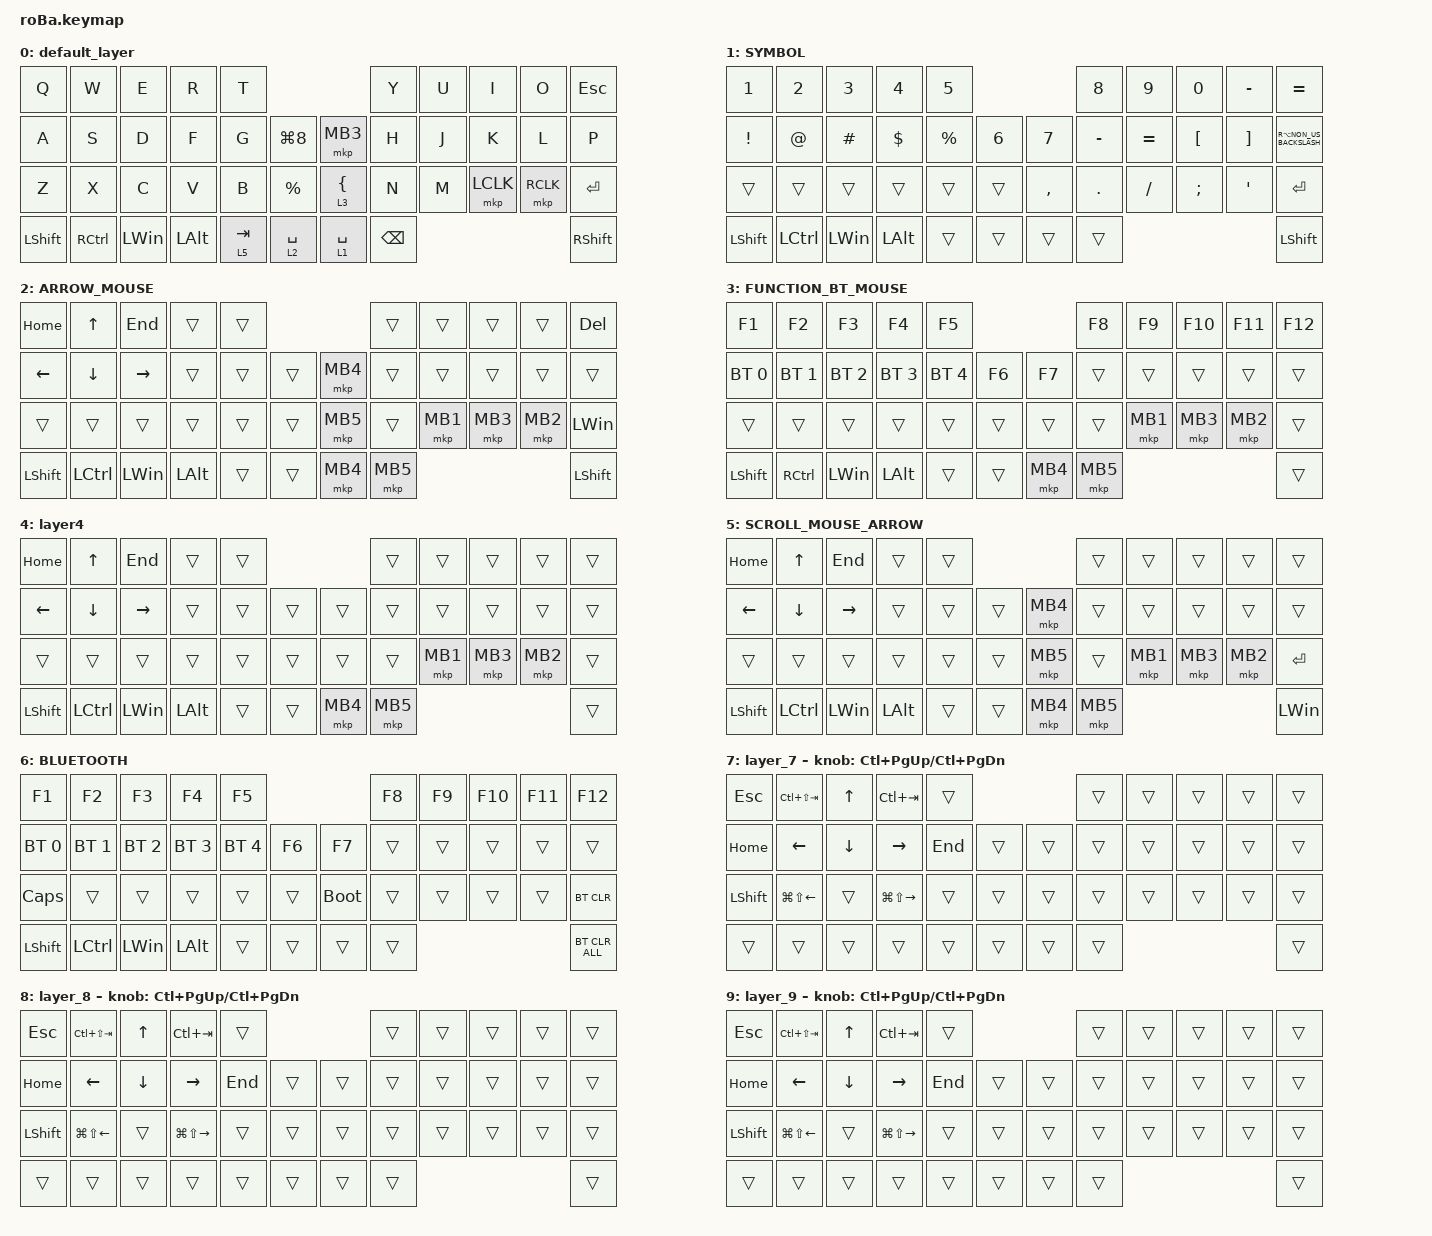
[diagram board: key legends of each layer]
#include <behaviors.dtsi>
#include <dt-bindings/zmk/bt.h>
#include <dt-bindings/zmk/keys.h>
#include <dt-bindings/zmk/pointing.h>

#define MOUSE 4
#define SCROLL 5
#define NUM 6

&mt {
    flavor = "balanced";
    quick-tap-ms = <0>;
};

/ {
    combos {
        compatible = "zmk,combos";

        tab {
            bindings = <&kp TAB>;
            key-positions = <11 12>;
        };

        shift_tab {
            bindings = <&kp LS(TAB)>;
            key-positions = <12 13>;
        };

        muhennkann {
            bindings = <&to_layer_0 INT_MUHENKAN>;
            key-positions = <11 10>;
        };

        double_quotation {
            bindings = <&kp DOUBLE_QUOTES>;
            key-positions = <20 21>;
        };

        eq {
            bindings = <&kp EQUAL>;
            key-positions = <24 25>;
        };
    };

    macros {
        to_layer_0: to_layer_0 {
            compatible = "zmk,behavior-macro-one-param";
            #binding-cells = <1>;
            bindings = <&to 0 &macro_param_1to1 &kp MACRO_PLACEHOLDER>;
            label = "TO_LAYER_0";
        };
    };

    behaviors {
        lt_to_layer_0: lt_to_layer_0 {
            compatible = "zmk,behavior-hold-tap";
            label = "LAYER_TAP_TO_0";
            bindings = <&mo>, <&to_layer_0>;

            #binding-cells = <2>;
            tapping-term-ms = <200>;
        };
    };

    keymap {
        compatible = "zmk,keymap";

        default_layer {
            bindings = <
&kp Q           &kp W      &kp E         &kp R         &kp T                                         &kp Y          &kp U  &kp I      &kp O      &kp ESCAPE
&kp A           &kp S      &kp D         &kp F         &kp G      &kp LG(N8)       &mkp MB3          &kp H          &kp J  &kp K      &kp L      &kp P
&kp Z           &kp X      &kp C         &kp V         &kp B      &kp PRCNT        &lt 3 LEFT_BRACE  &kp N          &kp M  &mkp LCLK  &mkp RCLK  &kp ENTER
&kp LEFT_SHIFT  &kp RCTRL  &kp LEFT_WIN  &kp LEFT_ALT  &lt 5 TAB  &lt 2 SPACE      &lt 1 SPACE       &kp BACKSPACE                               &kp RIGHT_SHIFT
            >;
        };

        SYMBOL {
            bindings = <
&kp NUMBER_1     &kp NUMBER_2  &kp NUMBER_3  &kp NUMBER_4  &kp N5                                    &kp N8      &kp N9     &kp N0            &kp MINUS          &kp EQUAL
&kp EXCLAMATION  &kp AT_SIGN   &kp HASH      &kp DOLLAR    &kp PERCENT  &kp NUMBER_6      &kp N7     &kp MINUS   &kp EQUAL  &kp LEFT_BRACKET  &kp RIGHT_BRACKET  &kp RA(NON_US_BACKSLASH)
&trans           &trans        &trans        &trans        &trans       &trans            &kp COMMA  &kp PERIOD  &kp SLASH  &kp SEMICOLON     &kp SQT            &kp ENTER
&kp LEFT_SHIFT   &kp LCTRL     &kp LEFT_WIN  &kp LEFT_ALT  &trans       &trans            &trans     &trans                                                      &kp LEFT_SHIFT
            >;
        };

        ARROW_MOUSE {
            bindings = <
&kp HOME        &kp UP          &kp END          &trans        &trans                        &trans    &trans    &trans    &trans    &kp DEL
&kp LEFT_ARROW  &kp DOWN_ARROW  &kp RIGHT_ARROW  &trans        &trans  &trans      &mkp MB4  &trans    &trans    &trans    &trans    &trans
&trans          &trans          &trans           &trans        &trans  &trans      &mkp MB5  &trans    &mkp MB1  &mkp MB3  &mkp MB2  &kp LEFT_WIN
&kp LEFT_SHIFT  &kp LCTRL       &kp LEFT_WIN     &kp LEFT_ALT  &trans  &trans      &mkp MB4  &mkp MB5                                &kp LEFT_SHIFT
            >;
        };

        FUNCTION_BT_MOUSE {
            bindings = <
&kp F1          &kp F2        &kp F3        &kp F4        &kp F5                              &kp F8    &kp F9    &kp F10   &kp F11   &kp F12
&bt BT_SEL 0    &bt BT_SEL 1  &bt BT_SEL 2  &bt BT_SEL 3  &bt BT_SEL 4  &kp F6      &kp F7    &trans    &trans    &trans    &trans    &trans
&trans          &trans        &trans        &trans        &trans        &trans      &trans    &trans    &mkp MB1  &mkp MB3  &mkp MB2  &trans
&kp LEFT_SHIFT  &kp RCTRL     &kp LEFT_WIN  &kp LEFT_ALT  &trans        &trans      &mkp MB4  &mkp MB5                                &trans
            >;
        };

        layer4 {
            bindings = <
&kp HOME        &kp UP_ARROW    &kp END          &trans        &trans                        &trans    &trans    &trans    &trans    &trans
&kp LEFT_ARROW  &kp DOWN_ARROW  &kp RIGHT_ARROW  &trans        &trans  &trans      &trans    &trans    &trans    &trans    &trans    &trans
&trans          &trans          &trans           &trans        &trans  &trans      &trans    &trans    &mkp MB1  &mkp MB3  &mkp MB2  &trans
&kp LEFT_SHIFT  &kp LCTRL       &kp LEFT_WIN     &kp LEFT_ALT  &trans  &trans      &mkp MB4  &mkp MB5                                &trans
            >;
        };

        SCROLL_MOUSE_ARROW {
            bindings = <
&kp HOME        &kp UP_ARROW    &kp END          &trans        &trans                        &trans    &trans    &trans    &trans    &trans
&kp LEFT_ARROW  &kp DOWN_ARROW  &kp RIGHT_ARROW  &trans        &trans  &trans      &mkp MB4  &trans    &trans    &trans    &trans    &trans
&trans          &trans          &trans           &trans        &trans  &trans      &mkp MB5  &trans    &mkp MB1  &mkp MB3  &mkp MB2  &kp ENTER
&kp LEFT_SHIFT  &kp LCTRL       &kp LEFT_WIN     &kp LEFT_ALT  &trans  &trans      &mkp MB4  &mkp MB5                                &kp LEFT_WIN
            >;
        };

        BLUETOOTH {
            bindings = <
&kp F1          &kp F2        &kp F3        &kp F4        &kp F5                                 &kp F8  &kp F9  &kp F10  &kp F11  &kp F12
&bt BT_SEL 0    &bt BT_SEL 1  &bt BT_SEL 2  &bt BT_SEL 3  &bt BT_SEL 4  &kp F6      &kp F7       &trans  &trans  &trans   &trans   &trans
&kp CAPSLOCK    &trans        &trans        &trans        &trans        &trans      &bootloader  &trans  &trans  &trans   &trans   &bt BT_CLR
&kp LEFT_SHIFT  &kp LCTRL     &kp LEFT_WIN  &kp LEFT_ALT  &trans        &trans      &trans       &trans                            &bt BT_CLR_ALL
            >;
        };

        layer_7 {
            bindings = <
&kp ESCAPE      &kp LC(LS(TAB))         &kp UP_ARROW    &kp LC(TAB)              &trans                       &trans  &trans  &trans  &trans  &trans
&kp HOME        &kp LEFT_ARROW          &kp DOWN_ARROW  &kp RIGHT_ARROW          &kp END  &trans      &trans  &trans  &trans  &trans  &trans  &trans
&kp LEFT_SHIFT  &kp LG(LS(LEFT_ARROW))  &trans          &kp LG(LS(RIGHT_ARROW))  &trans   &trans      &trans  &trans  &trans  &trans  &trans  &trans
&trans          &trans                  &trans          &trans                   &trans   &trans      &trans  &trans                          &trans
            >;

            sensor-bindings = <&inc_dec_kp LC(PAGE_UP) LC(PAGE_DOWN)>;
        };

        layer_8 {
            bindings = <
&kp ESCAPE      &kp LC(LS(TAB))         &kp UP_ARROW    &kp LC(TAB)              &trans                       &trans  &trans  &trans  &trans  &trans
&kp HOME        &kp LEFT_ARROW          &kp DOWN_ARROW  &kp RIGHT_ARROW          &kp END  &trans      &trans  &trans  &trans  &trans  &trans  &trans
&kp LEFT_SHIFT  &kp LG(LS(LEFT_ARROW))  &trans          &kp LG(LS(RIGHT_ARROW))  &trans   &trans      &trans  &trans  &trans  &trans  &trans  &trans
&trans          &trans                  &trans          &trans                   &trans   &trans      &trans  &trans                          &trans
            >;

            sensor-bindings = <&inc_dec_kp LC(PAGE_UP) LC(PAGE_DOWN)>;
        };

        layer_9 {
            bindings = <
&kp ESCAPE      &kp LC(LS(TAB))         &kp UP_ARROW    &kp LC(TAB)              &trans                       &trans  &trans  &trans  &trans  &trans
&kp HOME        &kp LEFT_ARROW          &kp DOWN_ARROW  &kp RIGHT_ARROW          &kp END  &trans      &trans  &trans  &trans  &trans  &trans  &trans
&kp LEFT_SHIFT  &kp LG(LS(LEFT_ARROW))  &trans          &kp LG(LS(RIGHT_ARROW))  &trans   &trans      &trans  &trans  &trans  &trans  &trans  &trans
&trans          &trans                  &trans          &trans                   &trans   &trans      &trans  &trans                          &trans
            >;

            sensor-bindings = <&inc_dec_kp LC(PAGE_UP) LC(PAGE_DOWN)>;
        };
    };
};
